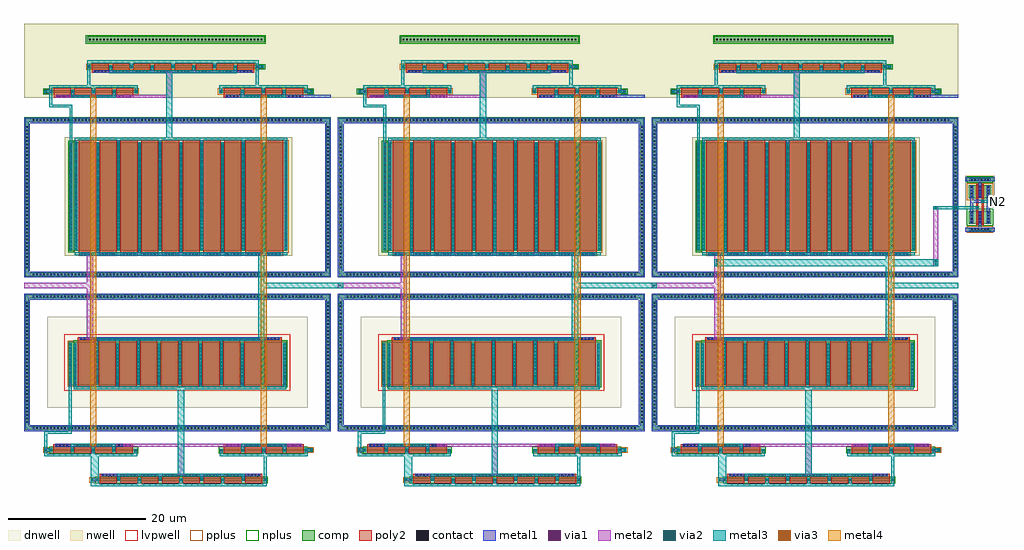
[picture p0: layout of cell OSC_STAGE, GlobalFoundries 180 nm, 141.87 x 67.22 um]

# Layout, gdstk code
from math import pi, radians
import gdstk
lib = gdstk.Library(unit=1e-6, precision=5e-09)
def R(c, l, rs):  # rectangles x0, y0, x1, y1
    for r in rs: c.add(gdstk.rectangle(r[:2], r[2:], *l))
def A(c, l, x, y, w, h, nx, ny, dx, dy):  # array of equal rectangles
    R(c, l, [(x+i*dx, y+j*dy, x+i*dx+w, y+j*dy+h) for i in range(nx) for j in range(ny)])
def P(c, l, *ps):  # polygons
    for p in ps: c.add(gdstk.Polygon(p, *l))
dnwell = (12, 0)
nwell = (21, 0)
comp = (22, 0)
poly2 = (30, 0)
pplus = (31, 0)
nplus = (32, 0)
contact = (33, 0)
metal1 = (34, 0)
via1 = (35, 0)
metal2 = (36, 0)
via2 = (38, 0)
via3 = (40, 0)
metal3 = (42, 0)
metal4 = (46, 0)
lvpwell = (204, 0)

nfet_2 = lib.new_cell('nfet$2')
R(nfet_2, comp, [(-0.42,-0.01,0,0.43), (11.94,-0.01,12.36,0.43), (12.36,-0.01,13.07,0.43), (0,0,11.94,0.42)])
A(nfet_2, poly2, 0.19, -0.3, 2.5, 1.02, 4, 1, 3.02, 0)
A(nfet_2, poly2, 0.19, 0.72, 2.5, 0.36, 4, 1, 3.02, 0)
R(nfet_2, pplus, [(12.36,-0.17,13.24,0.59)])
R(nfet_2, nplus, [(-0.59,-0.25,12.36,0.67)])
A(nfet_2, contact, 2.84, 0.1, 0.22, 0.22, 3, 1, 3.02, 0)
A(nfet_2, contact, 0.565, 0.79, 0.22, 0.22, 4, 1, 0.51, 0)
A(nfet_2, contact, 3.585, 0.79, 0.22, 0.22, 4, 1, 0.51, 0)
A(nfet_2, contact, 6.605, 0.79, 0.22, 0.22, 4, 1, 0.51, 0)
A(nfet_2, contact, 9.625, 0.79, 0.22, 0.22, 4, 1, 0.51, 0)
R(nfet_2, contact, [(-0.32,0.1,-0.1,0.32), (12.04,0.1,12.26,0.32), (12.75,0.1,12.97,0.32)])
A(nfet_2, metal1, 2.76, 0.02, 0.38, 0.38, 3, 1, 3.02, 0)
A(nfet_2, metal1, 0.485, 0.71, 1.91, 0.38, 4, 1, 3.02, 0)
R(nfet_2, metal1, [(-0.4,0.02,-0.02,0.4), (11.96,0.02,12.34,0.4), (12.67,0.02,13.05,0.4)])

pfet_6 = lib.new_cell('pfet$6')
R(pfet_6, nwell, [(-1.16,-0.71,13.83,1.13)])
R(pfet_6, comp, [(-0.46,-0.01,0,0.43), (11.94,-0.01,12.4,0.43), (12.4,-0.01,13.13,0.43), (0,0,11.94,0.42)])
A(pfet_6, poly2, 0.19, -0.3, 2.5, 1.02, 4, 1, 3.02, 0)
A(pfet_6, poly2, 0.19, 0.72, 2.5, 0.38, 4, 1, 3.02, 0)
R(pfet_6, pplus, [(-0.63,-0.25,12.4,0.67)])
R(pfet_6, nplus, [(12.4,-0.17,13.3,0.59)])
A(pfet_6, contact, 2.84, 0.1, 0.22, 0.22, 3, 1, 3.02, 0)
A(pfet_6, contact, 0.565, 0.8, 0.22, 0.22, 4, 1, 0.51, 0)
A(pfet_6, contact, 3.585, 0.8, 0.22, 0.22, 4, 1, 0.51, 0)
A(pfet_6, contact, 6.605, 0.8, 0.22, 0.22, 4, 1, 0.51, 0)
A(pfet_6, contact, 9.625, 0.8, 0.22, 0.22, 4, 1, 0.51, 0)
R(pfet_6, contact, [(-0.34,0.1,-0.12,0.32), (12.06,0.1,12.28,0.32), (12.79,0.1,13.01,0.32)])
A(pfet_6, metal1, 2.76, 0.02, 0.38, 0.38, 3, 1, 3.02, 0)
A(pfet_6, metal1, 0.485, 0.72, 1.91, 0.38, 4, 1, 3.02, 0)
R(pfet_6, metal1, [(-0.42,0.02,-0.04,0.4), (11.98,0.02,12.36,0.4), (12.71,0.02,13.09,0.4)])

pfet_7 = lib.new_cell('pfet$7')
R(pfet_7, nwell, [(-1.16,-0.71,13.83,1.13)])
R(pfet_7, comp, [(-0.46,-0.01,0,0.43), (11.94,-0.01,12.4,0.43), (12.4,-0.01,13.13,0.43), (0,0,11.94,0.42)])
A(pfet_7, poly2, 0.19, -0.3, 2.5, 1.02, 4, 1, 3.02, 0)
A(pfet_7, poly2, 0.19, 0.72, 2.5, 0.38, 4, 1, 3.02, 0)
R(pfet_7, pplus, [(-0.63,-0.25,12.4,0.67)])
R(pfet_7, nplus, [(12.4,-0.17,13.3,0.59)])
A(pfet_7, contact, 2.84, 0.1, 0.22, 0.22, 3, 1, 3.02, 0)
A(pfet_7, contact, 0.565, 0.8, 0.22, 0.22, 4, 1, 0.51, 0)
A(pfet_7, contact, 3.585, 0.8, 0.22, 0.22, 4, 1, 0.51, 0)
A(pfet_7, contact, 6.605, 0.8, 0.22, 0.22, 4, 1, 0.51, 0)
A(pfet_7, contact, 9.625, 0.8, 0.22, 0.22, 4, 1, 0.51, 0)
R(pfet_7, contact, [(-0.34,0.1,-0.12,0.32), (12.06,0.1,12.28,0.32), (12.79,0.1,13.01,0.32)])
A(pfet_7, metal1, 2.76, 0.02, 0.38, 0.38, 3, 1, 3.02, 0)
A(pfet_7, metal1, 0.485, 0.72, 1.91, 0.38, 4, 1, 3.02, 0)
R(pfet_7, metal1, [(-0.42,0.02,-0.04,0.4), (11.98,0.02,12.36,0.4), (12.71,0.02,13.09,0.4)])

pfet = lib.new_cell('pfet')
R(pfet, nwell, [(-1.16,-0.71,25.91,1.13)])
R(pfet, comp, [(-0.46,-0.01,0,0.43), (24.02,-0.01,24.48,0.43), (24.48,-0.01,25.21,0.43), (0,0,24.02,0.42)])
A(pfet, poly2, 0.19, -0.3, 2.5, 1.02, 8, 1, 3.02, 0)
A(pfet, poly2, 0.19, 0.72, 2.5, 0.38, 8, 1, 3.02, 0)
R(pfet, pplus, [(-0.63,-0.25,24.48,0.67)])
R(pfet, nplus, [(24.48,-0.17,25.38,0.59)])
A(pfet, contact, 2.84, 0.1, 0.22, 0.22, 7, 1, 3.02, 0)
A(pfet, contact, 0.565, 0.8, 0.22, 0.22, 4, 1, 0.51, 0)
A(pfet, contact, 3.585, 0.8, 0.22, 0.22, 4, 1, 0.51, 0)
A(pfet, contact, 6.605, 0.8, 0.22, 0.22, 4, 1, 0.51, 0)
A(pfet, contact, 9.625, 0.8, 0.22, 0.22, 4, 1, 0.51, 0)
A(pfet, contact, 12.645, 0.8, 0.22, 0.22, 4, 1, 0.51, 0)
A(pfet, contact, 15.665, 0.8, 0.22, 0.22, 4, 1, 0.51, 0)
A(pfet, contact, 18.685, 0.8, 0.22, 0.22, 4, 1, 0.51, 0)
A(pfet, contact, 21.705, 0.8, 0.22, 0.22, 4, 1, 0.51, 0)
R(pfet, contact, [(-0.34,0.1,-0.12,0.32), (24.14,0.1,24.36,0.32), (24.87,0.1,25.09,0.32)])
A(pfet, metal1, 2.76, 0.02, 0.38, 0.38, 7, 1, 3.02, 0)
A(pfet, metal1, 0.485, 0.72, 1.91, 0.38, 8, 1, 3.02, 0)
R(pfet, metal1, [(-0.42,0.02,-0.04,0.4), (24.06,0.02,24.44,0.4), (24.79,0.02,25.17,0.4)])

nfet_1 = lib.new_cell('nfet$1')
R(nfet_1, comp, [(-0.42,-0.01,0,0.43), (24.02,-0.01,24.44,0.43), (24.44,-0.01,25.15,0.43), (0,0,24.02,0.42)])
A(nfet_1, poly2, 0.19, -0.3, 2.5, 1.02, 8, 1, 3.02, 0)
A(nfet_1, poly2, 0.19, 0.72, 2.5, 0.36, 8, 1, 3.02, 0)
R(nfet_1, pplus, [(24.44,-0.17,25.32,0.59)])
R(nfet_1, nplus, [(-0.59,-0.25,24.44,0.67)])
A(nfet_1, contact, 2.84, 0.1, 0.22, 0.22, 7, 1, 3.02, 0)
A(nfet_1, contact, 0.565, 0.79, 0.22, 0.22, 4, 1, 0.51, 0)
A(nfet_1, contact, 3.585, 0.79, 0.22, 0.22, 4, 1, 0.51, 0)
A(nfet_1, contact, 6.605, 0.79, 0.22, 0.22, 4, 1, 0.51, 0)
A(nfet_1, contact, 9.625, 0.79, 0.22, 0.22, 4, 1, 0.51, 0)
A(nfet_1, contact, 12.645, 0.79, 0.22, 0.22, 4, 1, 0.51, 0)
A(nfet_1, contact, 15.665, 0.79, 0.22, 0.22, 4, 1, 0.51, 0)
A(nfet_1, contact, 18.685, 0.79, 0.22, 0.22, 4, 1, 0.51, 0)
A(nfet_1, contact, 21.705, 0.79, 0.22, 0.22, 4, 1, 0.51, 0)
R(nfet_1, contact, [(-0.32,0.1,-0.1,0.32), (24.12,0.1,24.34,0.32), (24.83,0.1,25.05,0.32)])
A(nfet_1, metal1, 2.76, 0.02, 0.38, 0.38, 7, 1, 3.02, 0)
A(nfet_1, metal1, 0.485, 0.71, 1.91, 0.38, 8, 1, 3.02, 0)
R(nfet_1, metal1, [(-0.4,0.02,-0.02,0.4), (24.04,0.02,24.42,0.4), (24.75,0.02,25.13,0.4)])

nfet_10 = lib.new_cell('nfet$10')
R(nfet_10, dnwell, [(-3.55,-3.26,34.32,9.96)])
R(nfet_10, comp, [(-0.42,0,0,6.33), (0,0,30.06,6.33), (30.06,0,30.48,6.33), (30.48,0,31.19,6.33)])
P(nfet_10, comp, [(-6.75,-6.46),(-6.75,12.66),(-6.25,12.66),(-6.25,-5.96),(37.02,-5.96),(37.02,12.66),(-6.75,12.66),(-6.75,13.16),(37.52,13.16),(37.52,-6.46)])
A(nfet_10, poly2, 0.19, -0.3, 2.5, 6.93, 10, 1, 3.02, 0)
A(nfet_10, poly2, 0.19, 6.63, 2.5, 0.36, 10, 1, 3.02, 0)
R(nfet_10, pplus, [(30.48,-0.17,31.36,6.5)])
P(nfet_10, pplus, [(-6.92,-6.63),(-6.92,12.49),(-6.08,12.49),(-6.08,-5.79),(36.85,-5.79),(36.85,12.49),(-6.92,12.49),(-6.92,13.33),(37.69,13.33),(37.69,-6.63)])
R(nfet_10, nplus, [(-0.59,-0.24,30.48,6.57)])
A(nfet_10, contact, -5.635, -6.32, 0.22, 0.22, 83, 2, 0.51, 19.12)
A(nfet_10, contact, -6.61, -5.43, 0.22, 0.22, 1, 35, 0, 0.51)
A(nfet_10, contact, 37.16, -5.43, 0.22, 0.22, 1, 35, 0, 0.51)
A(nfet_10, contact, -0.32, 0.25, 0.22, 0.22, 1, 12, 0, 0.51)
A(nfet_10, contact, 2.84, 0.25, 0.22, 0.22, 9, 12, 3.02, 0.51)
A(nfet_10, contact, 30.16, 0.25, 0.22, 0.22, 1, 12, 0, 0.51)
A(nfet_10, contact, 30.87, 0.25, 0.22, 0.22, 1, 12, 0, 0.51)
A(nfet_10, contact, 0.565, 6.7, 0.22, 0.22, 4, 1, 0.51, 0)
A(nfet_10, contact, 3.585, 6.7, 0.22, 0.22, 4, 1, 0.51, 0)
A(nfet_10, contact, 6.605, 6.7, 0.22, 0.22, 4, 1, 0.51, 0)
A(nfet_10, contact, 9.625, 6.7, 0.22, 0.22, 4, 1, 0.51, 0)
A(nfet_10, contact, 12.645, 6.7, 0.22, 0.22, 4, 1, 0.51, 0)
A(nfet_10, contact, 15.665, 6.7, 0.22, 0.22, 4, 1, 0.51, 0)
A(nfet_10, contact, 18.685, 6.7, 0.22, 0.22, 4, 1, 0.51, 0)
A(nfet_10, contact, 21.705, 6.7, 0.22, 0.22, 4, 1, 0.51, 0)
A(nfet_10, contact, 24.725, 6.7, 0.22, 0.22, 4, 1, 0.51, 0)
A(nfet_10, contact, 27.745, 6.7, 0.22, 0.22, 4, 1, 0.51, 0)
A(nfet_10, metal1, 2.76, 0.17, 0.38, 5.99, 9, 1, 3.02, 0)
A(nfet_10, metal1, 0.485, 6.62, 1.91, 0.38, 10, 1, 3.02, 0)
R(nfet_10, metal1, [(-0.4,0.17,-0.02,6.16), (30.08,0.17,30.46,6.16), (30.79,0.17,31.17,6.16)])
R(nfet_10, lvpwell, [(-1.04,-0.75,31.81,7.45)])

nfet = lib.new_cell('nfet')
R(nfet, comp, [(-0.42,-0.01,0,0.43), (11.94,-0.01,12.36,0.43), (12.36,-0.01,13.07,0.43), (0,0,11.94,0.42)])
A(nfet, poly2, 0.19, -0.3, 2.5, 1.02, 4, 1, 3.02, 0)
A(nfet, poly2, 0.19, 0.72, 2.5, 0.36, 4, 1, 3.02, 0)
R(nfet, pplus, [(12.36,-0.17,13.24,0.59)])
R(nfet, nplus, [(-0.59,-0.25,12.36,0.67)])
A(nfet, contact, 2.84, 0.1, 0.22, 0.22, 3, 1, 3.02, 0)
A(nfet, contact, 0.565, 0.79, 0.22, 0.22, 4, 1, 0.51, 0)
A(nfet, contact, 3.585, 0.79, 0.22, 0.22, 4, 1, 0.51, 0)
A(nfet, contact, 6.605, 0.79, 0.22, 0.22, 4, 1, 0.51, 0)
A(nfet, contact, 9.625, 0.79, 0.22, 0.22, 4, 1, 0.51, 0)
R(nfet, contact, [(-0.32,0.1,-0.1,0.32), (12.04,0.1,12.26,0.32), (12.75,0.1,12.97,0.32)])
A(nfet, metal1, 2.76, 0.02, 0.38, 0.38, 3, 1, 3.02, 0)
A(nfet, metal1, 0.485, 0.71, 1.91, 0.38, 4, 1, 3.02, 0)
R(nfet, metal1, [(-0.4,0.02,-0.02,0.4), (11.96,0.02,12.34,0.4), (12.67,0.02,13.05,0.4)])

pfet_4 = lib.new_cell('pfet$4')
R(pfet_4, nwell, [(-1.15,-0.69,31.94,16.515)])
R(pfet_4, comp, [(-0.46,0,0,15.825), (0,0,30.06,15.825), (30.06,0,30.52,15.825), (30.52,0,31.25,15.825)])
A(pfet_4, poly2, 0.19, -0.68, 2.5, 0.38, 10, 1, 3.02, 0)
A(pfet_4, poly2, 0.19, -0.3, 2.5, 16.425, 10, 1, 3.02, 0)
R(pfet_4, pplus, [(-0.63,-0.24,30.52,16.065)])
R(pfet_4, nplus, [(30.52,-0.17,31.42,15.995)])
A(pfet_4, contact, 0.565, -0.6, 0.22, 0.22, 4, 1, 0.51, 0)
A(pfet_4, contact, 3.585, -0.6, 0.22, 0.22, 4, 1, 0.51, 0)
A(pfet_4, contact, 6.605, -0.6, 0.22, 0.22, 4, 1, 0.51, 0)
A(pfet_4, contact, 9.625, -0.6, 0.22, 0.22, 4, 1, 0.51, 0)
A(pfet_4, contact, 12.645, -0.6, 0.22, 0.22, 4, 1, 0.51, 0)
A(pfet_4, contact, 15.665, -0.6, 0.22, 0.22, 4, 1, 0.51, 0)
A(pfet_4, contact, 18.685, -0.6, 0.22, 0.22, 4, 1, 0.51, 0)
A(pfet_4, contact, 21.705, -0.6, 0.22, 0.22, 4, 1, 0.51, 0)
A(pfet_4, contact, 24.725, -0.6, 0.22, 0.22, 4, 1, 0.51, 0)
A(pfet_4, contact, 27.745, -0.6, 0.22, 0.22, 4, 1, 0.51, 0)
A(pfet_4, contact, -0.34, 0.155, 0.22, 0.22, 1, 31, 0, 0.51)
A(pfet_4, contact, 2.84, 0.155, 0.22, 0.22, 9, 31, 3.02, 0.51)
A(pfet_4, contact, 30.18, 0.155, 0.22, 0.22, 1, 31, 0, 0.51)
A(pfet_4, contact, 30.91, 0.155, 0.22, 0.22, 1, 31, 0, 0.51)
A(pfet_4, metal1, 0.485, -0.68, 1.91, 0.38, 10, 1, 3.02, 0)
A(pfet_4, metal1, 2.76, 0.075, 0.38, 15.68, 9, 1, 3.02, 0)
R(pfet_4, metal1, [(-0.42,0.075,-0.04,15.755), (30.1,0.075,30.48,15.755), (30.83,0.075,31.21,15.755)])

osc_inv_v2 = lib.new_cell('OSC_INV_v2')
R(osc_inv_v2, nwell, [(0,-306.74,44.61,-295.98)])
R(osc_inv_v2, comp, [(0.17,-332.67,43.93,-332.17), (43.93,-332.67,44.43,-310.23), (0.17,-332.17,0.67,-310.23), (0.17,-310.23,44.43,-309.73)])
R(osc_inv_v2, nplus, [(0,-332.83,43.77,-331.99), (43.77,-332.83,44.61,-310.41), (0,-331.99,0.84,-310.41), (0,-310.41,44.61,-309.57)])
A(osc_inv_v2, contact, 1.33, -332.53, 0.22, 0.22, 83, 2, 0.51, 22.44)
A(osc_inv_v2, contact, 0.31, -331.51, 0.22, 0.22, 1, 41, 0, 0.51)
A(osc_inv_v2, contact, 44.07, -331.51, 0.22, 0.22, 1, 41, 0, 0.51)
R(osc_inv_v2, metal1, [(12.175,-361.78,32.925,-361.4), (5.465,-357.44,14.765,-357.06), (29.53,-357.44,38.675,-357.06), (0,-355.18,43.77,-354.34), (43.77,-355.18,44.61,-336.06), (0,-354.34,0.84,-336.06), (9.315,-341.93,34.75,-341.55), (0,-336.06,44.61,-335.22), (0,-332.83,43.77,-331.99), (43.77,-332.83,44.61,-310.46), (0,-331.99,0.84,-310.46), (9.165,-329.67,35.66,-329.29), (0,-310.46,44.61,-309.62), (0,-306.71,4.335,-306.33), (6.245,-306.71,14.06,-306.33), (29.56,-306.71,38.085,-306.33), (13.33,-303.12,33.65,-302.74)])
A(osc_inv_v2, via1, 12.6, -362.41, 0.26, 0.26, 7, 1, 3.02, 0)
A(osc_inv_v2, via1, 6.61, -358.07, 0.26, 0.26, 3, 1, 3.02, 0)
A(osc_inv_v2, via1, 31.42, -358.07, 0.26, 0.26, 3, 1, 3.02, 0)
A(osc_inv_v2, via1, 6.58, -347.92, 0.26, 0.26, 1, 11, 0, 0.52)
A(osc_inv_v2, via1, 9.74, -347.92, 0.26, 0.26, 9, 11, 3.02, 0.52)
A(osc_inv_v2, via1, 37.06, -347.92, 0.26, 0.26, 1, 11, 0, 0.52)
A(osc_inv_v2, via1, 37.77, -347.92, 0.26, 0.26, 1, 11, 0, 0.52)
A(osc_inv_v2, via1, 6.41, -328.85, 0.26, 0.26, 1, 30, 0, 0.52)
A(osc_inv_v2, via1, 9.59, -328.85, 0.26, 0.26, 9, 30, 3.02, 0.52)
A(osc_inv_v2, via1, 36.93, -328.85, 0.26, 0.26, 1, 30, 0, 0.52)
A(osc_inv_v2, via1, 37.66, -328.85, 0.26, 0.26, 1, 30, 0, 0.52)
A(osc_inv_v2, via1, 6.67, -305.95, 0.26, 0.26, 3, 1, 3.02, 0)
A(osc_inv_v2, via1, 31.36, -305.95, 0.26, 0.26, 3, 1, 3.02, 0)
A(osc_inv_v2, via1, 13.755, -302.36, 0.26, 0.26, 7, 1, 3.02, 0)
R(osc_inv_v2, via1, [(9.44,-362.41,9.7,-362.15), (33.88,-362.41,34.14,-362.15), (34.59,-362.41,34.85,-362.15), (21.395,-361.72,21.655,-361.46), (21.915,-361.72,22.175,-361.46), (2.74,-358.07,3,-357.81), (3.45,-358.07,3.71,-357.81), (15.81,-358.07,16.07,-357.81), (28.26,-358.07,28.52,-357.81), (40.62,-358.07,40.88,-357.81), (41.33,-358.07,41.59,-357.81), (5.035,-357.38,5.295,-357.12), (5.555,-357.38,5.815,-357.12), (5.555,-357.38,5.815,-357.12), (5.555,-357.38,5.815,-357.12), (6.075,-357.38,6.335,-357.12), (6.075,-357.38,6.335,-357.12), (6.075,-357.38,6.335,-357.12), (6.595,-357.38,6.855,-357.12), (6.595,-357.38,6.855,-357.12), (6.595,-357.38,6.855,-357.12), (7.115,-357.38,7.375,-357.12), (7.115,-357.38,7.375,-357.12), (7.115,-357.38,7.375,-357.12), (7.635,-357.38,7.895,-357.12), (7.635,-357.38,7.895,-357.12), (7.635,-357.38,7.895,-357.12), (8.155,-357.38,8.415,-357.12), (8.155,-357.38,8.415,-357.12), (8.155,-357.38,8.415,-357.12), (8.675,-357.38,8.935,-357.12), (8.675,-357.38,8.935,-357.12), (8.675,-357.38,8.935,-357.12), (9.195,-357.38,9.455,-357.12), (9.195,-357.38,9.455,-357.12), (9.195,-357.38,9.455,-357.12), (9.715,-357.38,9.975,-357.12), (9.715,-357.38,9.975,-357.12), (9.715,-357.38,9.975,-357.12), (10.235,-357.38,10.495,-357.12), (10.235,-357.38,10.495,-357.12), (10.755,-357.38,11.015,-357.12), (10.755,-357.38,11.015,-357.12), (11.275,-357.38,11.535,-357.12), (11.275,-357.38,11.535,-357.12), (11.795,-357.38,12.055,-357.12), (11.795,-357.38,12.055,-357.12), (12.315,-357.38,12.575,-357.12), (12.315,-357.38,12.575,-357.12), (12.835,-357.38,13.095,-357.12), (12.835,-357.38,13.095,-357.12), (13.355,-357.38,13.615,-357.12), (13.355,-357.38,13.615,-357.12), (13.875,-357.38,14.135,-357.12), (13.875,-357.38,14.135,-357.12), (14.395,-357.38,14.655,-357.12), (14.395,-357.38,14.655,-357.12), (14.915,-357.38,15.175,-357.12), (29.155,-357.38,29.415,-357.12), (29.675,-357.38,29.935,-357.12), (37.76,-354.91,38.02,-354.65), (34.64,-341.87,34.9,-341.61), (35.16,-341.87,35.42,-341.61), (34.64,-329.61,34.9,-329.35), (35.16,-329.61,35.42,-329.35), (37.66,-310.13,37.92,-309.87), (29.075,-306.65,29.335,-306.39), (29.595,-306.65,29.855,-306.39), (29.595,-306.65,29.855,-306.39), (30.115,-306.65,30.375,-306.39), (30.115,-306.65,30.375,-306.39), (30.635,-306.65,30.895,-306.39), (30.635,-306.65,30.895,-306.39), (31.155,-306.65,31.415,-306.39), (31.155,-306.65,31.415,-306.39), (31.675,-306.65,31.935,-306.39), (31.675,-306.65,31.935,-306.39), (32.195,-306.65,32.455,-306.39), (32.195,-306.65,32.455,-306.39), (32.715,-306.65,32.975,-306.39), (32.715,-306.65,32.975,-306.39), (33.235,-306.65,33.495,-306.39), (33.235,-306.65,33.495,-306.39), (33.755,-306.65,34.015,-306.39), (33.755,-306.65,34.015,-306.39), (34.275,-306.65,34.535,-306.39), (34.275,-306.65,34.535,-306.39), (34.795,-306.65,35.055,-306.39), (34.795,-306.65,35.055,-306.39), (35.315,-306.65,35.575,-306.39), (35.315,-306.65,35.575,-306.39), (35.835,-306.65,36.095,-306.39), (35.835,-306.65,36.095,-306.39), (36.355,-306.65,36.615,-306.39), (36.355,-306.65,36.615,-306.39), (36.875,-306.65,37.135,-306.39), (36.875,-306.65,37.135,-306.39), (37.395,-306.65,37.655,-306.39), (37.395,-306.65,37.655,-306.39), (37.915,-306.65,38.175,-306.39), (37.915,-306.65,38.175,-306.39), (38.435,-306.65,38.695,-306.39), (38.435,-306.65,38.695,-306.39), (38.955,-306.65,39.215,-306.39), (38.955,-306.65,39.215,-306.39), (39.475,-306.65,39.735,-306.39), (2.76,-305.95,3.02,-305.69), (3.49,-305.95,3.75,-305.69), (15.89,-305.95,16.15,-305.69), (28.18,-305.95,28.44,-305.69), (40.58,-305.95,40.84,-305.69), (41.31,-305.95,41.57,-305.69), (23.105,-303.06,23.365,-302.8), (23.625,-303.06,23.885,-302.8), (9.845,-302.36,10.105,-302.1), (10.575,-302.36,10.835,-302.1), (35.055,-302.36,35.315,-302.1)])
A(osc_inv_v2, metal2, 12.5, -362.505, 0.45, 0.45, 3, 1, 3.02, 0)
A(osc_inv_v2, metal2, 24.58, -362.505, 0.45, 0.45, 3, 1, 3.02, 0)
A(osc_inv_v2, metal2, 6.52, -358.165, 0.45, 0.415, 3, 1, 3.02, 0)
A(osc_inv_v2, metal2, 31.32, -358.165, 0.45, 0.45, 3, 1, 3.02, 0)
A(osc_inv_v2, metal2, 12.7, -348.69, 0.38, 6.3, 4, 1, 6.04, 0)
A(osc_inv_v2, metal2, 9.68, -348.38, 0.38, 6.3, 5, 1, 6.04, 0)
A(osc_inv_v2, metal2, 9.53, -329.225, 0.38, 15.99, 5, 1, 6.04, 0)
A(osc_inv_v2, metal2, 12.55, -328.915, 0.38, 15.995, 4, 1, 6.04, 0)
A(osc_inv_v2, metal2, 6.58, -306.045, 0.45, 0.45, 3, 1, 3.02, 0)
A(osc_inv_v2, metal2, 31.26, -306.045, 0.45, 0.45, 3, 1, 3.02, 0)
A(osc_inv_v2, metal2, 13.665, -302.455, 0.45, 0.45, 7, 1, 3.02, 0)
R(osc_inv_v2, metal2, [(9.34,-362.505,9.79,-362.055), (21.56,-362.505,22.01,-362.09), (33.78,-362.505,34.23,-362.055), (34.23,-362.505,34.94,-362.055), (21.335,-361.78,22.235,-357.06), (2.65,-358.165,3.36,-357.715), (3.36,-358.165,3.81,-357.715), (15.72,-358.165,16.17,-357.75), (28.16,-358.165,28.61,-357.75), (40.52,-358.165,41.23,-357.715), (41.23,-358.165,41.68,-357.715), (4.27,-357.44,21.335,-357.06), (22.235,-357.44,30.205,-357.06), (37.69,-355.18,38.09,-354.34), (6.52,-348.69,6.9,-342.39), (37,-348.69,37.38,-342.39), (37.71,-348.69,38.09,-342.39), (34.58,-341.93,35.48,-329.29), (35.48,-334.39,40.84,-333.63), (40.84,-334.39,43.85,-333.63), (43.85,-334.39,44.61,-333.63), (6.35,-328.92,6.73,-312.92), (37.6,-328.915,37.98,-313.235), (36.87,-328.91,37.25,-312.92), (37.6,-310.46,37.98,-309.62), (23.045,-306.71,23.945,-302.74), (23.945,-306.71,39.995,-306.33), (2.67,-306.045,3.4,-305.595), (3.4,-306.045,3.85,-305.595), (15.8,-306.045,16.25,-305.595), (28.08,-306.045,28.53,-305.595), (40.48,-306.045,40.93,-305.595), (40.93,-306.045,41.66,-305.595), (9.755,-302.455,10.205,-302.005), (10.485,-302.455,10.935,-302.005), (34.965,-302.455,35.415,-302.005)])
A(osc_inv_v2, via2, 12.6, -362.41, 0.26, 0.26, 7, 1, 3.02, 0)
A(osc_inv_v2, via2, 6.61, -358.07, 0.26, 0.26, 3, 1, 3.02, 0)
A(osc_inv_v2, via2, 31.42, -358.07, 0.26, 0.26, 3, 1, 3.02, 0)
A(osc_inv_v2, via2, 6.58, -347.92, 0.26, 0.26, 1, 11, 0, 0.52)
A(osc_inv_v2, via2, 9.74, -347.92, 0.26, 0.26, 9, 11, 3.02, 0.52)
A(osc_inv_v2, via2, 37.06, -347.92, 0.26, 0.26, 1, 11, 0, 0.52)
A(osc_inv_v2, via2, 37.77, -347.92, 0.26, 0.26, 1, 11, 0, 0.52)
A(osc_inv_v2, via2, 6.41, -328.85, 0.26, 0.26, 1, 30, 0, 0.52)
A(osc_inv_v2, via2, 9.59, -328.85, 0.26, 0.26, 9, 30, 3.02, 0.52)
A(osc_inv_v2, via2, 36.93, -328.85, 0.26, 0.26, 1, 30, 0, 0.52)
A(osc_inv_v2, via2, 37.66, -328.85, 0.26, 0.26, 1, 30, 0, 0.52)
A(osc_inv_v2, via2, 6.67, -305.95, 0.26, 0.26, 3, 1, 3.02, 0)
A(osc_inv_v2, via2, 31.36, -305.95, 0.26, 0.26, 3, 1, 3.02, 0)
A(osc_inv_v2, via2, 13.75, -302.36, 0.26, 0.26, 7, 1, 3.02, 0)
R(osc_inv_v2, via2, [(9.44,-362.41,9.7,-362.15), (33.88,-362.41,34.14,-362.15), (34.59,-362.41,34.85,-362.15), (2.74,-358.07,3,-357.81), (3.45,-358.07,3.71,-357.81), (15.81,-358.07,16.07,-357.81), (28.26,-358.07,28.52,-357.81), (40.62,-358.07,40.88,-357.81), (41.33,-358.07,41.59,-357.81), (9.37,-357.38,9.63,-357.12), (9.89,-357.38,10.15,-357.12), (37.76,-354.91,38.02,-354.65), (6.41,-328.85,6.67,-328.59), (37.66,-310.13,37.92,-309.87), (34.175,-306.675,34.435,-306.415), (34.695,-306.675,34.955,-306.415), (2.76,-305.95,3.02,-305.69), (3.49,-305.95,3.75,-305.69), (15.89,-305.95,16.15,-305.69), (15.89,-305.95,16.15,-305.69), (28.18,-305.95,28.44,-305.69), (40.58,-305.95,40.84,-305.69), (41.31,-305.95,41.57,-305.69), (9.84,-302.36,10.1,-302.1), (10.57,-302.36,10.83,-302.1), (35.05,-302.36,35.31,-302.1)])
R(osc_inv_v2, via3, [(9.37,-357.35,9.63,-357.09), (9.89,-357.35,10.15,-357.09), (34.175,-357.345,34.435,-357.085), (34.695,-357.345,34.955,-357.085), (34.175,-306.675,34.435,-306.415), (34.695,-306.675,34.955,-306.415), (9.37,-306.67,9.63,-306.41), (9.89,-306.67,10.15,-306.41)])
A(osc_inv_v2, metal3, 15.52, -362.815, 0.45, 0.76, 3, 1, 6.04, 0)
A(osc_inv_v2, metal3, 12.5, -362.505, 0.45, 0.76, 4, 1, 6.04, 0)
A(osc_inv_v2, metal3, 12.7, -348.69, 0.38, 6.3, 4, 1, 6.04, 0)
A(osc_inv_v2, metal3, 9.68, -348.38, 0.38, 6.3, 5, 1, 6.04, 0)
A(osc_inv_v2, metal3, 9.53, -329.225, 0.38, 15.99, 5, 1, 6.04, 0)
A(osc_inv_v2, metal3, 12.55, -328.915, 0.38, 15.995, 4, 1, 6.04, 0)
A(osc_inv_v2, metal3, 3.4, -306.045, 0.45, 0.76, 3, 1, 6.2, 0)
A(osc_inv_v2, metal3, 28.08, -306.045, 0.45, 0.76, 3, 1, 6.2, 0)
A(osc_inv_v2, metal3, 13.66, -302.765, 0.45, 0.76, 4, 1, 6.04, 0)
A(osc_inv_v2, metal3, 16.68, -302.455, 0.45, 0.76, 3, 1, 6.04, 0)
R(osc_inv_v2, metal3, [(9.34,-363.2,34.94,-362.815), (9.34,-362.815,9.79,-362.055), (33.78,-362.815,34.23,-362.055), (34.23,-362.815,34.94,-362.055), (9.34,-362.055,9.79,-358.855), (33.78,-362.055,34.94,-358.855), (12.5,-361.745,31.07,-361.365), (21.335,-361.365,22.235,-349.07), (3.36,-358.855,16.17,-358.475), (28.16,-358.855,41.68,-358.475), (3.36,-358.475,3.81,-357.715), (9.54,-358.475,9.99,-357.715), (15.72,-358.475,16.17,-357.75), (28.16,-358.475,28.61,-357.75), (34.34,-358.475,34.79,-357.715), (41.23,-358.475,41.68,-357.715), (2.65,-358.165,3.36,-357.715), (6.52,-358.165,6.97,-357.405), (12.56,-358.165,13.01,-357.405), (31.32,-358.165,31.77,-357.405), (37.36,-358.165,37.81,-357.405), (40.52,-358.165,41.23,-357.715), (41.23,-357.715,41.68,-355.58), (6.52,-357.405,13.01,-357.025), (31.32,-357.405,37.81,-357.025), (37.69,-355.58,41.68,-355.18), (37.69,-355.18,38.09,-348.69), (6.52,-349.07,37.38,-348.69), (6.52,-348.69,6.9,-342.39), (37,-348.69,37.38,-342.39), (37.69,-348.69,38.09,-342.39), (9.68,-342.08,34.22,-341.7), (9.68,-341.7,10.58,-329.61), (0,-334.39,9.68,-333.63), (6.36,-329.61,37.26,-329.225), (6.35,-328.92,6.73,-312.92), (37.6,-328.915,37.98,-313.235), (36.87,-328.91,37.25,-312.92), (37.6,-313.235,37.98,-308.13), (6.35,-312.92,37.25,-312.54), (23.045,-312.54,23.945,-303.145), (37.6,-308.13,40.93,-307.75), (40.48,-307.75,40.93,-306.045), (6.58,-306.745,13.07,-306.355), (31.26,-306.735,37.75,-306.355), (6.58,-306.355,7.03,-305.595), (12.62,-306.355,13.07,-305.595), (31.26,-306.355,31.71,-305.595), (37.3,-306.355,37.75,-305.595), (2.67,-306.045,3.4,-305.595), (40.93,-306.045,41.66,-305.595), (3.4,-305.285,16.25,-304.905), (28.08,-305.285,40.93,-304.905), (10.48,-304.905,10.93,-302.455), (34.96,-304.905,35.41,-302.455), (13.66,-303.145,32.23,-302.765), (9.75,-302.455,10.48,-302.005), (10.48,-302.455,10.93,-301.695), (34.96,-302.455,35.41,-301.695), (10.48,-301.695,35.41,-301.315)])
R(osc_inv_v2, metal4, [(9.31,-357.405,10.21,-306.355), (34.115,-357.405,35.015,-306.355)])
osc_inv_v2.add(gdstk.Reference(nfet_2, (28.6,-358.15)))
osc_inv_v2.add(gdstk.Reference(pfet_6, (28.54,-305.61), x_reflection=True))
osc_inv_v2.add(gdstk.Reference(pfet_7, (15.79,-305.61), rotation=pi))
osc_inv_v2.add(gdstk.Reference(pfet, (34.955,-302.02), rotation=pi))
osc_inv_v2.add(gdstk.Reference(nfet_1, (9.78,-362.49)))
osc_inv_v2.add(gdstk.Reference(nfet_10, (6.92,-348.55)))
osc_inv_v2.add(gdstk.Reference(nfet, (15.73,-358.15), rotation=pi, x_reflection=True))
osc_inv_v2.add(gdstk.Reference(pfet_4, (6.77,-328.99)))
osc_inv_v2.add(gdstk.Label('Vcont', (0.32,-306.56), layer=34, texttype=10))
osc_inv_v2.add(gdstk.Label('VOUT', (0.2,-333.9), layer=42, texttype=10))
osc_inv_v2.add(gdstk.Label('VDD', (35.14,-301.48), layer=42, texttype=10))
osc_inv_v2.add(gdstk.Label('VSS', (34.94,-363.01), layer=42, texttype=10))
osc_inv_v2.add(gdstk.Label('VIN', (44.45,-333.74), layer=36, texttype=10))

buff = lib.new_cell('BUFF')
R(buff, nwell, [(-0.5,3.58,3.78,8.16)])
R(buff, comp, [(0,0.16,3.28,0.52), (0,1.22,3.28,3.09), (0,4.89,3.28,6.76), (0,7.46,3.28,7.82)])
R(buff, poly2, [(1.1,1,1.38,6.98), (1.9,1,2.18,6.98), (1.02,3.33,1.46,3.77), (1.82,4.21,2.26,4.65)])
R(buff, pplus, [(-0.3,-0.14,3.58,0.82), (-0.3,4.59,3.58,7.06)])
R(buff, nplus, [(-0.3,0.92,3.58,3.39), (-0.3,7.16,3.58,8.12)])
A(buff, contact, 0.355, 0.23, 0.22, 0.22, 6, 2, 0.47, 7.3)
A(buff, contact, 0.34, 1.34, 0.22, 0.22, 1, 4, 0, 0.47)
A(buff, contact, 0.34, 1.34, 0.22, 0.22, 3, 4, 1.19, 0.47)
A(buff, contact, 0.34, 5.01, 0.22, 0.22, 1, 4, 0, 0.47)
A(buff, contact, 0.34, 5.01, 0.22, 0.22, 3, 4, 1.19, 0.47)
R(buff, contact, [(1.13,3.44,1.35,3.66), (1.93,4.32,2.15,4.54)])
R(buff, metal1, [(-0.5,0.04,3.78,0.64), (1.43,0.34,1.85,3.03), (0.24,1.28,0.66,6.7), (2.62,1.28,3.04,6.7), (1.02,3.33,1.46,3.77), (0.24,4.21,2.26,4.65), (1.82,4.21,2.26,4.65), (1.43,4.95,1.85,7.64), (-0.5,7.34,3.78,7.94)])
buff.add(gdstk.Label('VIN', (1.24,3.55), layer=34, texttype=10))
buff.add(gdstk.Label('VOUT', (2.83,3.99), layer=34, texttype=10))
buff.add(gdstk.Label('VSS', (1.64,0.34), layer=34, texttype=10))
buff.add(gdstk.Label('VDD', (1.64,7.64), layer=34, texttype=10))

osc_stage = lib.new_cell('OSC_STAGE')
R(osc_stage, nwell, [(44.61,56.46,45.61,67.22), (90.22,56.46,91.22,67.22)])
R(osc_stage, comp, [(9.16,64.5,35.01,65.42), (9.16,64.5,35.01,65.42), (54.76,64.5,80.61,65.42), (54.76,64.5,80.61,65.42), (100.335,64.5,126.185,65.42), (100.335,64.5,126.185,65.42)])
R(osc_stage, nplus, [(9,64.34,35.17,65.58), (9,64.34,35.17,65.58), (54.6,64.34,80.77,65.58), (54.6,64.34,80.77,65.58), (100.175,64.34,126.345,65.58), (100.175,64.34,126.345,65.58)])
R(osc_stage, contact, [(9.455,64.84,9.675,65.06), (9.455,64.84,9.675,65.06), (9.965,64.84,10.185,65.06), (9.965,64.84,10.185,65.06), (10.475,64.84,10.695,65.06), (10.475,64.84,10.695,65.06), (10.985,64.84,11.205,65.06), (10.985,64.84,11.205,65.06), (11.495,64.84,11.715,65.06), (11.495,64.84,11.715,65.06), (12.005,64.84,12.225,65.06), (12.005,64.84,12.225,65.06), (12.515,64.84,12.735,65.06), (12.515,64.84,12.735,65.06), (13.025,64.84,13.245,65.06), (13.025,64.84,13.245,65.06), (13.535,64.84,13.755,65.06), (13.535,64.84,13.755,65.06), (14.045,64.84,14.265,65.06), (14.045,64.84,14.265,65.06), (14.555,64.84,14.775,65.06), (14.555,64.84,14.775,65.06), (15.065,64.84,15.285,65.06), (15.065,64.84,15.285,65.06), (15.575,64.84,15.795,65.06), (15.575,64.84,15.795,65.06), (16.085,64.84,16.305,65.06), (16.085,64.84,16.305,65.06), (16.595,64.84,16.815,65.06), (16.595,64.84,16.815,65.06), (17.105,64.84,17.325,65.06), (17.105,64.84,17.325,65.06), (17.615,64.84,17.835,65.06), (17.615,64.84,17.835,65.06), (18.125,64.84,18.345,65.06), (18.125,64.84,18.345,65.06), (18.635,64.84,18.855,65.06), (18.635,64.84,18.855,65.06), (19.145,64.84,19.365,65.06), (19.145,64.84,19.365,65.06), (19.655,64.84,19.875,65.06), (19.655,64.84,19.875,65.06), (20.165,64.84,20.385,65.06), (20.165,64.84,20.385,65.06), (20.675,64.84,20.895,65.06), (20.675,64.84,20.895,65.06), (21.185,64.84,21.405,65.06), (21.185,64.84,21.405,65.06), (21.695,64.84,21.915,65.06), (21.695,64.84,21.915,65.06), (22.205,64.84,22.425,65.06), (22.205,64.84,22.425,65.06), (22.715,64.84,22.935,65.06), (22.715,64.84,22.935,65.06), (23.225,64.84,23.445,65.06), (23.225,64.84,23.445,65.06), (23.735,64.84,23.955,65.06), (23.735,64.84,23.955,65.06), (24.245,64.84,24.465,65.06), (24.245,64.84,24.465,65.06), (24.755,64.84,24.975,65.06), (24.755,64.84,24.975,65.06), (25.265,64.84,25.485,65.06), (25.265,64.84,25.485,65.06), (25.775,64.84,25.995,65.06), (25.775,64.84,25.995,65.06), (26.285,64.84,26.505,65.06), (26.285,64.84,26.505,65.06), (26.795,64.84,27.015,65.06), (26.795,64.84,27.015,65.06), (27.305,64.84,27.525,65.06), (27.305,64.84,27.525,65.06), (27.815,64.84,28.035,65.06), (27.815,64.84,28.035,65.06), (28.325,64.84,28.545,65.06), (28.325,64.84,28.545,65.06), (28.835,64.84,29.055,65.06), (28.835,64.84,29.055,65.06), (29.345,64.84,29.565,65.06), (29.345,64.84,29.565,65.06), (29.855,64.84,30.075,65.06), (29.855,64.84,30.075,65.06), (30.365,64.84,30.585,65.06), (30.365,64.84,30.585,65.06), (30.875,64.84,31.095,65.06), (30.875,64.84,31.095,65.06), (31.385,64.84,31.605,65.06), (31.385,64.84,31.605,65.06), (31.895,64.84,32.115,65.06), (31.895,64.84,32.115,65.06), (32.405,64.84,32.625,65.06), (32.405,64.84,32.625,65.06), (32.915,64.84,33.135,65.06), (32.915,64.84,33.135,65.06), (33.425,64.84,33.645,65.06), (33.425,64.84,33.645,65.06), (33.935,64.84,34.155,65.06), (33.935,64.84,34.155,65.06), (34.445,64.84,34.665,65.06), (34.445,64.84,34.665,65.06), (55.055,64.84,55.275,65.06), (55.055,64.84,55.275,65.06), (55.565,64.84,55.785,65.06), (55.565,64.84,55.785,65.06), (56.075,64.84,56.295,65.06), (56.075,64.84,56.295,65.06), (56.585,64.84,56.805,65.06), (56.585,64.84,56.805,65.06), (57.095,64.84,57.315,65.06), (57.095,64.84,57.315,65.06), (57.605,64.84,57.825,65.06), (57.605,64.84,57.825,65.06), (58.115,64.84,58.335,65.06), (58.115,64.84,58.335,65.06), (58.625,64.84,58.845,65.06), (58.625,64.84,58.845,65.06), (59.135,64.84,59.355,65.06), (59.135,64.84,59.355,65.06), (59.645,64.84,59.865,65.06), (59.645,64.84,59.865,65.06), (60.155,64.84,60.375,65.06), (60.155,64.84,60.375,65.06), (60.665,64.84,60.885,65.06), (60.665,64.84,60.885,65.06), (61.175,64.84,61.395,65.06), (61.175,64.84,61.395,65.06), (61.685,64.84,61.905,65.06), (61.685,64.84,61.905,65.06), (62.195,64.84,62.415,65.06), (62.195,64.84,62.415,65.06), (62.705,64.84,62.925,65.06), (62.705,64.84,62.925,65.06), (63.215,64.84,63.435,65.06), (63.215,64.84,63.435,65.06), (63.725,64.84,63.945,65.06), (63.725,64.84,63.945,65.06), (64.235,64.84,64.455,65.06), (64.235,64.84,64.455,65.06), (64.745,64.84,64.965,65.06), (64.745,64.84,64.965,65.06), (65.255,64.84,65.475,65.06), (65.255,64.84,65.475,65.06), (65.765,64.84,65.985,65.06), (65.765,64.84,65.985,65.06), (66.275,64.84,66.495,65.06), (66.275,64.84,66.495,65.06), (66.785,64.84,67.005,65.06), (66.785,64.84,67.005,65.06), (67.295,64.84,67.515,65.06), (67.295,64.84,67.515,65.06), (67.805,64.84,68.025,65.06), (67.805,64.84,68.025,65.06), (68.315,64.84,68.535,65.06), (68.315,64.84,68.535,65.06), (68.825,64.84,69.045,65.06), (68.825,64.84,69.045,65.06), (69.335,64.84,69.555,65.06), (69.335,64.84,69.555,65.06), (69.845,64.84,70.065,65.06), (69.845,64.84,70.065,65.06), (70.355,64.84,70.575,65.06), (70.355,64.84,70.575,65.06), (70.865,64.84,71.085,65.06), (70.865,64.84,71.085,65.06), (71.375,64.84,71.595,65.06), (71.375,64.84,71.595,65.06), (71.885,64.84,72.105,65.06), (71.885,64.84,72.105,65.06), (72.395,64.84,72.615,65.06), (72.395,64.84,72.615,65.06), (72.905,64.84,73.125,65.06), (72.905,64.84,73.125,65.06), (73.415,64.84,73.635,65.06), (73.415,64.84,73.635,65.06), (73.925,64.84,74.145,65.06), (73.925,64.84,74.145,65.06), (74.435,64.84,74.655,65.06), (74.435,64.84,74.655,65.06), (74.945,64.84,75.165,65.06), (74.945,64.84,75.165,65.06), (75.455,64.84,75.675,65.06), (75.455,64.84,75.675,65.06), (75.965,64.84,76.185,65.06), (75.965,64.84,76.185,65.06), (76.475,64.84,76.695,65.06), (76.475,64.84,76.695,65.06), (76.985,64.84,77.205,65.06), (76.985,64.84,77.205,65.06), (77.495,64.84,77.715,65.06), (77.495,64.84,77.715,65.06), (78.005,64.84,78.225,65.06), (78.005,64.84,78.225,65.06), (78.515,64.84,78.735,65.06), (78.515,64.84,78.735,65.06), (79.025,64.84,79.245,65.06), (79.025,64.84,79.245,65.06), (79.535,64.84,79.755,65.06), (79.535,64.84,79.755,65.06), (80.045,64.84,80.265,65.06), (80.045,64.84,80.265,65.06), (100.63,64.84,100.85,65.06), (100.63,64.84,100.85,65.06), (101.14,64.84,101.36,65.06), (101.14,64.84,101.36,65.06), (101.65,64.84,101.87,65.06), (101.65,64.84,101.87,65.06), (102.16,64.84,102.38,65.06), (102.16,64.84,102.38,65.06), (102.67,64.84,102.89,65.06), (102.67,64.84,102.89,65.06), (103.18,64.84,103.4,65.06), (103.18,64.84,103.4,65.06), (103.69,64.84,103.91,65.06), (103.69,64.84,103.91,65.06), (104.2,64.84,104.42,65.06), (104.2,64.84,104.42,65.06), (104.71,64.84,104.93,65.06), (104.71,64.84,104.93,65.06), (105.22,64.84,105.44,65.06), (105.22,64.84,105.44,65.06), (105.73,64.84,105.95,65.06), (105.73,64.84,105.95,65.06), (106.24,64.84,106.46,65.06), (106.24,64.84,106.46,65.06), (106.75,64.84,106.97,65.06), (106.75,64.84,106.97,65.06), (107.26,64.84,107.48,65.06), (107.26,64.84,107.48,65.06), (107.77,64.84,107.99,65.06), (107.77,64.84,107.99,65.06), (108.28,64.84,108.5,65.06), (108.28,64.84,108.5,65.06), (108.79,64.84,109.01,65.06), (108.79,64.84,109.01,65.06), (109.3,64.84,109.52,65.06), (109.3,64.84,109.52,65.06), (109.81,64.84,110.03,65.06), (109.81,64.84,110.03,65.06), (110.32,64.84,110.54,65.06), (110.32,64.84,110.54,65.06), (110.83,64.84,111.05,65.06), (110.83,64.84,111.05,65.06), (111.34,64.84,111.56,65.06), (111.34,64.84,111.56,65.06), (111.85,64.84,112.07,65.06), (111.85,64.84,112.07,65.06), (112.36,64.84,112.58,65.06), (112.36,64.84,112.58,65.06), (112.87,64.84,113.09,65.06), (112.87,64.84,113.09,65.06), (113.38,64.84,113.6,65.06), (113.38,64.84,113.6,65.06), (113.89,64.84,114.11,65.06), (113.89,64.84,114.11,65.06), (114.4,64.84,114.62,65.06), (114.4,64.84,114.62,65.06), (114.91,64.84,115.13,65.06), (114.91,64.84,115.13,65.06), (115.42,64.84,115.64,65.06), (115.42,64.84,115.64,65.06), (115.93,64.84,116.15,65.06), (115.93,64.84,116.15,65.06), (116.44,64.84,116.66,65.06), (116.44,64.84,116.66,65.06), (116.95,64.84,117.17,65.06), (116.95,64.84,117.17,65.06), (117.46,64.84,117.68,65.06), (117.46,64.84,117.68,65.06), (117.97,64.84,118.19,65.06), (117.97,64.84,118.19,65.06), (118.48,64.84,118.7,65.06), (118.48,64.84,118.7,65.06), (118.99,64.84,119.21,65.06), (118.99,64.84,119.21,65.06), (119.5,64.84,119.72,65.06), (119.5,64.84,119.72,65.06), (120.01,64.84,120.23,65.06), (120.01,64.84,120.23,65.06), (120.52,64.84,120.74,65.06), (120.52,64.84,120.74,65.06), (121.03,64.84,121.25,65.06), (121.03,64.84,121.25,65.06), (121.54,64.84,121.76,65.06), (121.54,64.84,121.76,65.06), (122.05,64.84,122.27,65.06), (122.05,64.84,122.27,65.06), (122.56,64.84,122.78,65.06), (122.56,64.84,122.78,65.06), (123.07,64.84,123.29,65.06), (123.07,64.84,123.29,65.06), (123.58,64.84,123.8,65.06), (123.58,64.84,123.8,65.06), (124.09,64.84,124.31,65.06), (124.09,64.84,124.31,65.06), (124.6,64.84,124.82,65.06), (124.6,64.84,124.82,65.06), (125.11,64.84,125.33,65.06), (125.11,64.84,125.33,65.06), (125.62,64.84,125.84,65.06), (125.62,64.84,125.84,65.06)])
R(osc_stage, via1, [(139.24,41.26,139.5,41.52)])
R(osc_stage, metal2, [(132.19,32.01,132.86,40.73)])
R(osc_stage, via2, [(45.86,29.04,46.12,29.3), (91.47,29.04,91.73,29.3), (100.645,32.17,100.905,32.43), (132.39,32.17,132.65,32.43), (100.645,32.58,100.905,32.84), (132.39,32.58,132.65,32.84), (132.39,40.38,132.65,40.64), (139.24,41.26,139.5,41.52)])
R(osc_stage, metal3, [(44.61,28.81,46.37,29.57), (90.22,28.81,91.98,29.57), (100.35,32.01,132.86,33.02), (132.19,40.29,138.79,40.73), (139.15,41.17,141.87,41.61)])
osc_stage.add(gdstk.Reference(osc_inv_v2, (44.61,363.2), rotation=pi, x_reflection=True))
osc_stage.add(gdstk.Reference(osc_inv_v2, (90.22,363.2), rotation=pi, x_reflection=True))
osc_stage.add(gdstk.Reference(osc_inv_v2, (135.83,363.2), rotation=pi, x_reflection=True))
osc_stage.add(gdstk.Reference(buff, (137.33,36.96)))
osc_stage.add(gdstk.Label('N2', (141.66,41.42), layer=42, texttype=10))

lib.write_gds('OSC_STAGE.gds')
